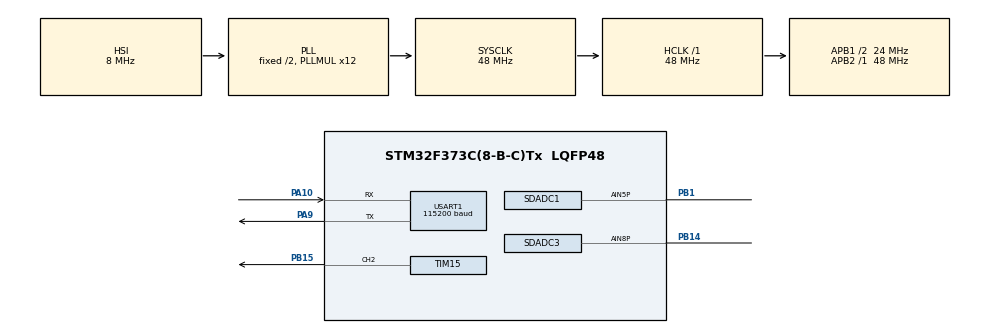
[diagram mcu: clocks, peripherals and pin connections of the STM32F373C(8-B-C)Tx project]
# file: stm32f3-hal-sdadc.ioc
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Dma.Request0=USART1_RX
Dma.USART1_RX.0.Direction=DMA_PERIPH_TO_MEMORY
Dma.USART1_RX.0.Instance=DMA1_Channel5
Dma.USART1_RX.0.MemDataAlignment=DMA_MDATAALIGN_BYTE
Dma.USART1_RX.0.MemInc=DMA_MINC_ENABLE
Dma.USART1_RX.0.Mode=DMA_CIRCULAR
Dma.USART1_RX.0.PeriphDataAlignment=DMA_PDATAALIGN_BYTE
Dma.USART1_RX.0.PeriphInc=DMA_PINC_DISABLE
Dma.USART1_RX.0.Priority=DMA_PRIORITY_LOW
Mcu.Family=STM32F3
Mcu.Name=STM32F373C(8-B-C)Tx
Mcu.Package=LQFP48
NVIC.DMA1_Channel5_IRQn=true\:0\:0\:false\:false\:true\:false\:true\:true
NVIC.PriorityGroup=NVIC_PRIORITYGROUP_4
NVIC.SDADC1_IRQn=true\:0\:0\:false\:false\:true\:true\:true\:true
NVIC.SDADC3_IRQn=true\:0\:0\:false\:false\:true\:true\:true\:true
NVIC.USART1_IRQn=true\:0\:0\:false\:false\:true\:true\:true\:true
PA10.Mode=Asynchronous
PA10.Signal=USART1_RX
PA9.Mode=Asynchronous
PA9.Signal=USART1_TX
PB1.Mode=IN5-Single-Ended zero reference
PB1.Signal=SDADC1_AIN5P
PB14.Mode=IN8-Single-Ended zero reference
PB14.Signal=SDADC3_AIN8P
PB15.Signal=S_TIM15_CH2
PF0-OSC_IN.Mode=HSE-External-Oscillator
PF0-OSC_IN.Signal=RCC_OSC_IN
PF1-OSC_OUT.Mode=HSE-External-Oscillator
PF1-OSC_OUT.Signal=RCC_OSC_OUT
ProjectManager.HeapSize=0x200
ProjectManager.StackSize=0x400
ProjectManager.TargetToolchain=CMake
RCC.AHBFreq_Value=48000000
RCC.APB1CLKDivider=RCC_HCLK_DIV2
RCC.APB1Freq_Value=24000000
RCC.APB1TimFreq_Value=48000000
RCC.APB2Freq_Value=48000000
RCC.APB2TimFreq_Value=48000000
RCC.CortexFreq_Value=48000000
RCC.HCLKFreq_Value=48000000
RCC.HSE_VALUE=8000000
RCC.HSI_VALUE=8000000
RCC.LSE_VALUE=32768
RCC.PLLMUL=RCC_PLL_MUL12
RCC.SDADCPresc=RCC_SDADCSYSCLK_DIV20
RCC.SYSCLKFreq_VALUE=48000000
RCC.SYSCLKSource=RCC_SYSCLKSOURCE_PLLCLK
RCC.USBFreq_Value=48000000
SDADC1.EnableInjectedConversion=ENABLE
SDADC1.InjNumberOfConversion=1
SDADC1.InjectedChannel-1\#ChannelInjectedConversion=SDADC_CHANNEL_5
SDADC1.InjectedChannelsSelection=SDADC_CHANNEL_5
SDADC1.InjectedConfIndex-1\#ChannelInjectedConversion=SDADC_CONF_INDEX_0
SDADC1.InjectedExtTrigger=SDADC_EXT_TRIG_TIM15_CC2
SDADC1.InjectedRank-1\#ChannelInjectedConversion=1
SDADC1.InjectedTrigger=SDADC_EXTERNAL_TRIGGER
SDADC1.InputMode0=SDADC_INPUT_MODE_SE_ZERO_REFERENCE
SDADC1.NbrOfConversionFlag=1
SDADC3.EnableInjectedConversion=ENABLE
SDADC3.InjNumberOfConversion=1
SDADC3.InjectedChannel-2\#ChannelInjectedConversion=SDADC_CHANNEL_8
SDADC3.InjectedChannelsSelection=SDADC_CHANNEL_8
SDADC3.InjectedConfIndex-2\#ChannelInjectedConversion=SDADC_CONF_INDEX_0
SDADC3.InjectedRank-2\#ChannelInjectedConversion=1
SDADC3.InjectedTrigger=SDADC_SYNCHRONOUS_TRIGGER
SDADC3.InputMode0=SDADC_INPUT_MODE_SE_ZERO_REFERENCE
SDADC3.NbrOfConversionFlag=1
SH.S_TIM15_CH2.0=TIM15_CH2,Output Compare2 CH2
TIM15.Channel-Output\ Compare2\ CH2=TIM_CHANNEL_2
TIM15.OCMode_2=TIM_OCMODE_TOGGLE
TIM15.Period=4000
TIM15.Prescaler=12
TIM15.Pulse-Output\ Compare2\ CH2=2000
USART1.BaudRate=115200
USART1.VirtualMode-Asynchronous=VM_ASYNC
VP_SDADC1_CONF0.Mode=ConfigZero
VP_SDADC3_CONF0.Mode=ConfigZero
VP_TIM15_VS_ClockSourceINT.Mode=Internal
board=custom

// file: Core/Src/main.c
/* USER CODE BEGIN Header */
/**
  ******************************************************************************
  * @file           : main.c
  * @brief          : Main program body
  ******************************************************************************
  * @attention
  *
  * Copyright (c) 2026 STMicroelectronics.
  * All rights reserved.
  *
  * This software is licensed under terms that can be found in the LICENSE file
  * in the root directory of this software component.
  * If no LICENSE file comes with this software, it is provided AS-IS.
  *
  ******************************************************************************
  */
/* USER CODE END Header */
#include "main.h"

/* USER CODE BEGIN Includes */
#include "cli.h"
#include "cli_cmd_fns.h"
#include "lwrb/lwrb.h"  /* lwrb_t */
#include "printf.h"     /* snprintf_ */
#include <stdint.h>
#include <string.h>     /* size_t, strSNPRINTF_BUFFER_SIZE */
/* USER CODE END Includes */

/* USER CODE BEGIN PTD */

// C99: Define an enumerated type with typedef
typedef enum {
    SDADC1_CH5,
    SDADC3_CH8
} sdadc_inj_channels_t;

typedef struct sensor_data_t sensor_data_t;

struct sensor_data_t {
    int16_t sdadc1_ch5;
    int16_t sdadc3_ch8;
};

/* USER CODE END PTD */

/* USER CODE BEGIN PD */
#define LWRB_SIZE               128
#define SDADC1_CH5_VALUE        5
#define SDADC3_CH8_VALUE        8
#define SNPRINTF_BUFFER_SIZE    64
#define UART_RX_BUFFER_SIZE     32  /* size of reception buffer */
/* USER CODE END PD */

SDADC_HandleTypeDef hsdadc1;  /* hsdadc1 is a handle to manage the SDADC1 */
SDADC_HandleTypeDef hsdadc3;  /* hsdadc3 is a handle to manage the SDADC3 */

TIM_HandleTypeDef htim15;     /* htim15 is a handle to manage the TIMER */

UART_HandleTypeDef huart1;
DMA_HandleTypeDef hdma_usart1_rx;

/* USER CODE BEGIN PV */

/**
  * @brief sensor_data_t implementation
  */
sensor_data_t sensor_data = {0};

/**
  * @brief cli.c
  */
cli_t cli;

/**
 * \brief
 */
char snprintf_buf[SNPRINTF_BUFFER_SIZE];

/**
 * \brief  Ring buffer instance for TX data
 */
lwrb_t sdadc1_ch5_rb;  // sdadc1_ch5
lwrb_t sdadc3_ch8_rb;  // sdadc3_ch8

/**
 * \brief  Ring buffer data array for TX DMA
 */
uint8_t sdadc1_ch5_rb_data[LWRB_SIZE];
uint8_t sdadc3_ch8_rb_data[LWRB_SIZE];

/**
* \brief  InjectedConvData contains the result of the conversion,
*         updated in HAL_SDADC_InjectedConvCpltCallback
*/
__IO int16_t InjectedConvData = 0;

/**
* \brief  InjChannel contains the converted channel after each
*         conversion. This is not used in this example.
*/
__IO uint32_t InjChannel = 0;

/**
  * @brief Text strings printed on PC Com port for user information
  */
char aTextInfoStart[] = "\r\nUSART Example : Enter characters to fill reception buffers.\r\n";

uint8_t aRXBufferUser[UART_RX_BUFFER_SIZE];

/**
  * @brief Data buffers used to manage received data in interrupt routine
  */
uint8_t aRXBufferA[UART_RX_BUFFER_SIZE];
uint8_t aRXBufferB[UART_RX_BUFFER_SIZE];

__IO uint32_t     uwNbReceivedChars;
uint8_t* pBufferReadyForUser;
uint8_t* pBufferReadyForReception;

/* USER CODE END PV */

void SystemClock_Config(void);
static void MX_GPIO_Init(void);
static void MX_DMA_Init(void);
static void MX_USART1_UART_Init(void);
static void MX_SDADC1_Init(void);
static void MX_SDADC3_Init(void);
static void MX_TIM15_Init(void);
/* USER CODE BEGIN PFP */
void my_buff_evt_fn(lwrb_t* buff, lwrb_evt_type_t type, size_t len);
void StartReception(void);
void UserDataTreatment(UART_HandleTypeDef* huart, uint8_t* pData, uint16_t Size);
void user_uart_println(char* msg);
/* USER CODE END PFP */

int main(void)
{

  /* USER CODE BEGIN 1 */

    /* lwrc.c */
    lwrb_init(&sdadc1_ch5_rb, sdadc1_ch5_rb_data, sizeof(sdadc1_ch5_rb_data));
    lwrb_set_evt_fn(&sdadc1_ch5_rb, my_buff_evt_fn);

  /* USER CODE END 1 */

  /* MCU Configuration--------------------------------------------------------*/

  /* Reset of all peripherals, Initializes the Flash interface and the Systick. */
  HAL_Init();

  /* Configure the system clock */
  SystemClock_Config();

  /* Initialize all configured peripherals */
  MX_GPIO_Init();
  MX_DMA_Init();
  MX_USART1_UART_Init();
  MX_SDADC1_Init();
  MX_SDADC3_Init();
  MX_TIM15_Init();
  /* USER CODE BEGIN 2 */

    /* Print user info on PC com port */
    user_uart_println(aTextInfoStart);

    /* cli.c */
    cli.println = user_uart_println;
    /* Set the cli_t (i.e. cli) cmd_tbl and cmd_cnt members */
    cli_set_cmd_members(&cli);
    cli_init(&cli);

    /* Initiate Continuous reception */
    StartReception();

    /* Start the TIMER's Channel */
    if (HAL_TIM_PWM_Start(&htim15, TIM_CHANNEL_2) != HAL_OK)
    {
        Error_Handler();
    }

    /* Start Calibration in polling mode */
    if (HAL_SDADC_CalibrationStart(&hsdadc1, SDADC_CALIBRATION_SEQ_1) != HAL_OK)
    {
        Error_Handler();
    }

    /* Pool for the end of calibration */
    if (HAL_SDADC_PollForCalibEvent(&hsdadc1, HAL_MAX_DELAY) != HAL_OK)
    {
        Error_Handler();
    }

    /* Start injected conversion in interrupt mode */
    if (HAL_SDADC_InjectedStart_IT(&hsdadc1) != HAL_OK)
    {
        Error_Handler();
    }

    /* Start Calibration in polling mode */
    if (HAL_SDADC_CalibrationStart(&hsdadc3, SDADC_CALIBRATION_SEQ_1) != HAL_OK)
    {
        Error_Handler();
    }

    /* Pool for the end of calibration */
    if (HAL_SDADC_PollForCalibEvent(&hsdadc3, HAL_MAX_DELAY) != HAL_OK)
    {
        Error_Handler();
    }

    /* Start injected conversion in interrupt mode */
    if (HAL_SDADC_InjectedStart_IT(&hsdadc3) != HAL_OK)
    {
        Error_Handler();
    }

  /* USER CODE END 2 */

  /* Infinite loop */
  /* USER CODE BEGIN WHILE */
  while (1)
  {
    cli_process(&cli);

    /* USER CODE END WHILE */

  }
}

void SystemClock_Config(void)
{
  RCC_OscInitTypeDef RCC_OscInitStruct = {0};
  RCC_ClkInitTypeDef RCC_ClkInitStruct = {0};
  RCC_PeriphCLKInitTypeDef PeriphClkInit = {0};

  /** Initializes the RCC Oscillators according to the specified parameters
  * in the RCC_OscInitTypeDef structure.
  */
  RCC_OscInitStruct.OscillatorType = RCC_OSCILLATORTYPE_HSI;
  RCC_OscInitStruct.HSIState = RCC_HSI_ON;
  RCC_OscInitStruct.HSICalibrationValue = RCC_HSICALIBRATION_DEFAULT;
  RCC_OscInitStruct.PLL.PLLState = RCC_PLL_ON;
  RCC_OscInitStruct.PLL.PLLSource = RCC_PLLSOURCE_HSI;
  RCC_OscInitStruct.PLL.PLLMUL = RCC_PLL_MUL12;
  if (HAL_RCC_OscConfig(&RCC_OscInitStruct) != HAL_OK)
  {
    Error_Handler();
  }

  /** Initializes the CPU, AHB and APB buses clocks
  */
  RCC_ClkInitStruct.ClockType = RCC_CLOCKTYPE_HCLK|RCC_CLOCKTYPE_SYSCLK
                              |RCC_CLOCKTYPE_PCLK1|RCC_CLOCKTYPE_PCLK2;
  RCC_ClkInitStruct.SYSCLKSource = RCC_SYSCLKSOURCE_PLLCLK;
  RCC_ClkInitStruct.AHBCLKDivider = RCC_SYSCLK_DIV1;
  RCC_ClkInitStruct.APB1CLKDivider = RCC_HCLK_DIV2;
  RCC_ClkInitStruct.APB2CLKDivider = RCC_HCLK_DIV1;

  if (HAL_RCC_ClockConfig(&RCC_ClkInitStruct, FLASH_LATENCY_1) != HAL_OK)
  {
    Error_Handler();
  }
  PeriphClkInit.PeriphClockSelection = RCC_PERIPHCLK_USART1|RCC_PERIPHCLK_SDADC;
  PeriphClkInit.Usart1ClockSelection = RCC_USART1CLKSOURCE_PCLK2;
  PeriphClkInit.SdadcClockSelection = RCC_SDADCSYSCLK_DIV20;
  if (HAL_RCCEx_PeriphCLKConfig(&PeriphClkInit) != HAL_OK)
  {
    Error_Handler();
  }
  HAL_PWREx_EnableSDADC(PWR_SDADC_ANALOG1);
  HAL_PWREx_EnableSDADC(PWR_SDADC_ANALOG3);
}

static void MX_SDADC1_Init(void)
{

  SDADC_ConfParamTypeDef ConfParamStruct = {0};

  /** Configure the SDADC low power mode, fast conversion mode,
  slow clock mode and SDADC1 reference voltage
  */
  hsdadc1.Instance = SDADC1;
  hsdadc1.Init.IdleLowPowerMode = SDADC_LOWPOWER_NONE;
  hsdadc1.Init.FastConversionMode = SDADC_FAST_CONV_DISABLE;
  hsdadc1.Init.SlowClockMode = SDADC_SLOW_CLOCK_DISABLE;
  hsdadc1.Init.ReferenceVoltage = SDADC_VREF_EXT;
  hsdadc1.InjectedTrigger = SDADC_EXTERNAL_TRIGGER;
  hsdadc1.ExtTriggerEdge = SDADC_EXT_TRIG_RISING_EDGE;
  if (HAL_SDADC_Init(&hsdadc1) != HAL_OK)
  {
    Error_Handler();
  }

  /** Configure the Injected Mode
  */
  if (HAL_SDADC_SelectInjectedDelay(&hsdadc1, SDADC_INJECTED_DELAY_NONE) != HAL_OK)
  {
    Error_Handler();
  }
  if (HAL_SDADC_SelectInjectedExtTrigger(&hsdadc1, SDADC_EXT_TRIG_TIM15_CC2, SDADC_EXT_TRIG_RISING_EDGE) != HAL_OK)
  {
    Error_Handler();
  }
  if (HAL_SDADC_SelectInjectedTrigger(&hsdadc1, SDADC_EXTERNAL_TRIGGER) != HAL_OK)
  {
    Error_Handler();
  }
  if (HAL_SDADC_InjectedConfigChannel(&hsdadc1, SDADC_CHANNEL_5, SDADC_CONTINUOUS_CONV_OFF) != HAL_OK)
  {
    Error_Handler();
  }

  /** Set parameters for SDADC configuration 0 Register
  */
  ConfParamStruct.InputMode = SDADC_INPUT_MODE_SE_ZERO_REFERENCE;
  ConfParamStruct.Gain = SDADC_GAIN_1;
  ConfParamStruct.CommonMode = SDADC_COMMON_MODE_VSSA;
  ConfParamStruct.Offset = 0;
  if (HAL_SDADC_PrepareChannelConfig(&hsdadc1, SDADC_CONF_INDEX_0, &ConfParamStruct) != HAL_OK)
  {
    Error_Handler();
  }

  /** Configure the Injected Channel
  */
  if (HAL_SDADC_AssociateChannelConfig(&hsdadc1, SDADC_CHANNEL_5, SDADC_CONF_INDEX_0) != HAL_OK)
  {
    Error_Handler();
  }

}

static void MX_SDADC3_Init(void)
{

  SDADC_ConfParamTypeDef ConfParamStruct = {0};

  /** Configure the SDADC low power mode, fast conversion mode,
  slow clock mode and SDADC1 reference voltage
  */
  hsdadc3.Instance = SDADC3;
  hsdadc3.Init.IdleLowPowerMode = SDADC_LOWPOWER_NONE;
  hsdadc3.Init.FastConversionMode = SDADC_FAST_CONV_DISABLE;
  hsdadc3.Init.SlowClockMode = SDADC_SLOW_CLOCK_DISABLE;
  hsdadc3.Init.ReferenceVoltage = SDADC_VREF_EXT;
  hsdadc3.InjectedTrigger = SDADC_SYNCHRONOUS_TRIGGER;
  if (HAL_SDADC_Init(&hsdadc3) != HAL_OK)
  {
    Error_Handler();
  }

  /** Configure the Injected Mode
  */
  if (HAL_SDADC_SelectInjectedDelay(&hsdadc3, SDADC_INJECTED_DELAY_NONE) != HAL_OK)
  {
    Error_Handler();
  }
  if (HAL_SDADC_SelectInjectedTrigger(&hsdadc3, SDADC_SYNCHRONOUS_TRIGGER) != HAL_OK)
  {
    Error_Handler();
  }
  if (HAL_SDADC_InjectedConfigChannel(&hsdadc3, SDADC_CHANNEL_8, SDADC_CONTINUOUS_CONV_OFF) != HAL_OK)
  {
    Error_Handler();
  }

  /** Set parameters for SDADC configuration 0 Register
  */
  ConfParamStruct.InputMode = SDADC_INPUT_MODE_SE_ZERO_REFERENCE;
  ConfParamStruct.Gain = SDADC_GAIN_1;
  ConfParamStruct.CommonMode = SDADC_COMMON_MODE_VSSA;
  ConfParamStruct.Offset = 0;
  if (HAL_SDADC_PrepareChannelConfig(&hsdadc3, SDADC_CONF_INDEX_0, &ConfParamStruct) != HAL_OK)
  {
    Error_Handler();
  }

  /** Configure the Injected Channel
  */
  if (HAL_SDADC_AssociateChannelConfig(&hsdadc3, SDADC_CHANNEL_8, SDADC_CONF_INDEX_0) != HAL_OK)
  {
    Error_Handler();
  }

}

static void MX_TIM15_Init(void)
{

  TIM_ClockConfigTypeDef sClockSourceConfig = {0};
  TIM_MasterConfigTypeDef sMasterConfig = {0};
  TIM_OC_InitTypeDef sConfigOC = {0};
  TIM_BreakDeadTimeConfigTypeDef sBreakDeadTimeConfig = {0};

  htim15.Instance = TIM15;
  htim15.Init.Prescaler = 12000;  // 12;
  htim15.Init.CounterMode = TIM_COUNTERMODE_UP;
  htim15.Init.Period = 4000;
  htim15.Init.ClockDivision = TIM_CLOCKDIVISION_DIV1;
  htim15.Init.RepetitionCounter = 0;
  htim15.Init.AutoReloadPreload = TIM_AUTORELOAD_PRELOAD_DISABLE;
  if (HAL_TIM_Base_Init(&htim15) != HAL_OK)
  {
    Error_Handler();
  }
  sClockSourceConfig.ClockSource = TIM_CLOCKSOURCE_INTERNAL;
  if (HAL_TIM_ConfigClockSource(&htim15, &sClockSourceConfig) != HAL_OK)
  {
    Error_Handler();
  }
  if (HAL_TIM_OC_Init(&htim15) != HAL_OK)
  {
    Error_Handler();
  }
  sMasterConfig.MasterOutputTrigger = TIM_TRGO_RESET;
  sMasterConfig.MasterSlaveMode = TIM_MASTERSLAVEMODE_DISABLE;
  if (HAL_TIMEx_MasterConfigSynchronization(&htim15, &sMasterConfig) != HAL_OK)
  {
    Error_Handler();
  }
  sConfigOC.OCMode = TIM_OCMODE_TOGGLE;
  sConfigOC.Pulse = 2000;
  sConfigOC.OCPolarity = TIM_OCPOLARITY_HIGH;
  sConfigOC.OCNPolarity = TIM_OCNPOLARITY_HIGH;
  sConfigOC.OCFastMode = TIM_OCFAST_DISABLE;
  sConfigOC.OCIdleState = TIM_OCIDLESTATE_RESET;
  sConfigOC.OCNIdleState = TIM_OCNIDLESTATE_RESET;
  if (HAL_TIM_OC_ConfigChannel(&htim15, &sConfigOC, TIM_CHANNEL_2) != HAL_OK)
  {
    Error_Handler();
  }
  sBreakDeadTimeConfig.OffStateRunMode = TIM_OSSR_DISABLE;
  sBreakDeadTimeConfig.OffStateIDLEMode = TIM_OSSI_DISABLE;
  sBreakDeadTimeConfig.LockLevel = TIM_LOCKLEVEL_OFF;
  sBreakDeadTimeConfig.DeadTime = 0;
  sBreakDeadTimeConfig.BreakState = TIM_BREAK_DISABLE;
  sBreakDeadTimeConfig.BreakPolarity = TIM_BREAKPOLARITY_HIGH;
  sBreakDeadTimeConfig.AutomaticOutput = TIM_AUTOMATICOUTPUT_DISABLE;
  if (HAL_TIMEx_ConfigBreakDeadTime(&htim15, &sBreakDeadTimeConfig) != HAL_OK)
  {
    Error_Handler();
  }
  HAL_TIM_MspPostInit(&htim15);

}

static void MX_USART1_UART_Init(void)
{

  huart1.Instance = USART1;
  huart1.Init.BaudRate = 115200;
  huart1.Init.WordLength = UART_WORDLENGTH_8B;
  huart1.Init.StopBits = UART_STOPBITS_1;
  huart1.Init.Parity = UART_PARITY_NONE;
  huart1.Init.Mode = UART_MODE_TX_RX;
  huart1.Init.HwFlowCtl = UART_HWCONTROL_NONE;
  huart1.Init.OverSampling = UART_OVERSAMPLING_16;
  huart1.Init.OneBitSampling = UART_ONE_BIT_SAMPLE_DISABLE;
  huart1.AdvancedInit.AdvFeatureInit = UART_ADVFEATURE_NO_INIT;
  if (HAL_UART_Init(&huart1) != HAL_OK)
  {
    Error_Handler();
  }

}

static void MX_DMA_Init(void)
{

  /* DMA controller clock enable */
  __HAL_RCC_DMA1_CLK_ENABLE();

  /* DMA interrupt init */
  /* DMA1_Channel5_IRQn interrupt configuration */
  HAL_NVIC_SetPriority(DMA1_Channel5_IRQn, 0, 0);
  HAL_NVIC_EnableIRQ(DMA1_Channel5_IRQn);

}

static void MX_GPIO_Init(void)
{

  /* GPIO Ports Clock Enable */
  __HAL_RCC_GPIOF_CLK_ENABLE();
  __HAL_RCC_GPIOB_CLK_ENABLE();
  __HAL_RCC_GPIOA_CLK_ENABLE();

}

/* USER CODE BEGIN 4 */

/**
 * \brief  Buffer event function
 */
void my_buff_evt_fn(lwrb_t* buff, lwrb_evt_type_t type, size_t len)
{
    switch (type) {
        case LWRB_EVT_RESET:
            // printf("[EVT] Buffer reset event!\r\n");
            user_uart_println("[EVT] Buffer reset event!\r\n");
            break;
        case LWRB_EVT_READ:
            // printf("[EVT] Buffer read event: %d byte(s)!\r\n", (int)len);
            snprintf_(
                snprintf_buf, SNPRINTF_BUFFER_SIZE,
                "[EVT] Buffer read event: %d byte(s)!\r\n", (int)len
            );
            user_uart_println(snprintf_buf);
            break;
        case LWRB_EVT_WRITE:
            // printf("[EVT] Buffer write event: %d byte(s)!\r\n", (int)len);
            snprintf_(
                snprintf_buf, SNPRINTF_BUFFER_SIZE,
                "[EVT] Buffer write event: %d byte(s)!\r\n", (int)len
            );
            user_uart_println(snprintf_buf);
            break;
        default: break;
    }
}

/**
  * @brief  This function prints user info on PC com port and initiates RX transfer
  * @retval None
  */
void StartReception(void)
{
    /* Initializes Buffer swap mechanism (used in User callback) :
        - 2 physical buffers aRXBufferA and aRXBufferB (UART_RX_BUFFER_SIZE length)
    */
    pBufferReadyForReception = aRXBufferA;
    pBufferReadyForUser      = aRXBufferB;
    uwNbReceivedChars        = 0;

    /* Print user info on PC com port */
    user_uart_println(aTextInfoStart);

    /* Initializes Rx sequence using Reception To Idle event API.
        As DMA channel associated to UART Rx is configured as Circular,
        reception is endless.
        If reception has to be stopped, call to HAL_UART_AbortReceive() could be used.

        Use of HAL_UARTEx_ReceiveToIdle_DMA service, will generate calls to
        user defined HAL_UARTEx_RxEventCallback callback for each occurrence of
        following events :
        - DMA RX Half Transfer event (HT)
        - DMA RX Transfer Complete event (TC)
        - IDLE event on UART Rx line (indicating a pause is UART reception flow)
    */
    if (HAL_OK != HAL_UARTEx_ReceiveToIdle_DMA(&huart1, aRXBufferUser, UART_RX_BUFFER_SIZE))
    {
        Error_Handler();
    }
}

/**
  * @brief  This function handles buffer containing received data on PC com port
  * @note   In this example, received data are sent back on UART Tx (loopback)
  *         Any other processing such as copying received data in a larger buffer to make it
  *         available for application, could be implemented here.
  * @note   This routine is executed in Interrupt context.
  * @param  huart UART handle.
  * @param  pData Pointer on received data buffer to be processed
  * @retval Size  Nb of received characters available in buffer
  */
void UserDataTreatment(UART_HandleTypeDef *huart, uint8_t* pData, uint16_t Size)
{
    /*
    * This function might be called in any of the following interrupt contexts :
    *  - DMA Transfer Complete (TC) and Half Transfer (HT) events
    *  - UART IDLE line event
    *
    * pData and Size defines the buffer where received data have been copied, in order to be processed.
    * During this processing of already received data, reception is still ongoing.
    *
    */
    uint8_t* pBuff = pData;
    uint8_t  i;
    char     ch;  /* cli.c */

    /* Implementation of loopback is on purpose implemented in direct register access,
        in order to be able to echo received characters as fast as they are received.
        Wait for TC flag to be raised at end of transmit is then removed, only TXE is checked */
    for (i = 0; i < Size; i++)
    {
        while (!(__HAL_UART_GET_FLAG(huart, UART_FLAG_TXE))) {}
        huart->Instance->TDR = *pBuff;
        ch = (char)*pBuff;  /* cli.c */
        cli_put(&cli, ch);  /* cli.c */
        pBuff++;
    }

}

/**
  * @brief  User implementation of the Reception Event Callback
  *         (Rx event notification called after use of advanced reception service).
  * @param  huart UART handle
  * @param  Size  Number of data available in application reception buffer (indicates a position in
  *               reception buffer until which, data are available)
  * @retval None
  */
void HAL_UARTEx_RxEventCallback(UART_HandleTypeDef *huart, uint16_t Size)
{
    static uint8_t old_pos = 0;
    uint8_t *ptemp;
    uint8_t i;

    /* Check if number of received data in reception buffer has changed */
    if (Size != old_pos)
    {
        /* Check if position of index in reception buffer has simply be increased
            of if end of buffer has been reached */
        if (Size > old_pos)
        {
            /* Current position is higher than previous one */
            uwNbReceivedChars = Size - old_pos;
            /* Copy received data in "User" buffer for evacuation */
            for (i = 0; i < uwNbReceivedChars; i++)
            {
                pBufferReadyForUser[i] = aRXBufferUser[old_pos + i];
            }
        }
        else
        {
            /* Current position is lower than previous one : end of buffer has been reached */
            /* First copy data from current position until end of buffer */
            uwNbReceivedChars = UART_RX_BUFFER_SIZE - old_pos;
            /* Copy received data in "User" buffer for evacuation */
            for (i = 0; i < uwNbReceivedChars; i++)
            {
                pBufferReadyForUser[i] = aRXBufferUser[old_pos + i];
            }
            /* Check and continue with beginning of buffer */
            if (Size > 0)
            {
                for (i = 0; i < Size; i++)
                {
                    pBufferReadyForUser[uwNbReceivedChars + i] = aRXBufferUser[i];
                }
                uwNbReceivedChars += Size;
            }
        }
        /* Process received data that has been extracted from Rx User buffer */
        UserDataTreatment(huart, pBufferReadyForUser, uwNbReceivedChars);

        /* Swap buffers for next bytes to be processed */
        ptemp = pBufferReadyForUser;
        pBufferReadyForUser = pBufferReadyForReception;
        pBufferReadyForReception = ptemp;
    }
    /* Update old_pos as new reference of position in User Rx buffer that
        indicates position to which data have been processed */
    old_pos = Size;

}

/**
  * @brief  Send text information message on UART Tx line (to PC Com port).
  * @note
  * @param[in] msg  String to be sent to user display
  * @retval None
  */
void user_uart_println(char* msg)
{
    size_t len = strlen(msg);  /* bytes before '\0' */
    if (HAL_OK != HAL_UART_Transmit(&huart1, (uint8_t*)msg, (uint16_t)len, 100))
    {
        Error_Handler();
    }
}

/* --------------------- Callback ------------------------- */

/**
  * @brief  Injected conversion complete callback.
  * @note
  *
  * https://github.com/KiteBuilder/UvhPu/blob/5b00b3bfccb5a2864dbbb0c1755949325a77b525/user/app.cpp#L221
  * https://github.com/openpowerquality/opq/blob/d3d9f051b5096809b1e06d8f483fd4ff9dc861f2/box/Firmware/Src/opq.c
  * https://github.com/sk-co/rd-rs485/blob/266703887e98e99067b0443ddf21a2f88a80566c/src/boards/rd10/board-adc.cpp#L488
  *
  * @param[in]  hsdadc : SDADC handle.
  * @retval None
  */
void HAL_SDADC_InjectedConvCpltCallback(SDADC_HandleTypeDef* hsdadc)
{
    /* Get conversion value */
    InjectedConvData = HAL_SDADC_InjectedGetValue(hsdadc, (uint32_t *) &InjChannel);

    if (hsdadc == &hsdadc1)
    {
        if (InjChannel == SDADC1_CH5_VALUE) {
            sensor_data.sdadc1_ch5 = InjectedConvData;
            snprintf_(
                snprintf_buf, SNPRINTF_BUFFER_SIZE,
                "hsdadc1; ch: %ld; data: %d\r\n", InjChannel, sensor_data.sdadc1_ch5
            );
        } else {
            snprintf_(
                snprintf_buf, SNPRINTF_BUFFER_SIZE,
                "hsdadc1; ch: %ld; data: %d\r\n", InjChannel, InjectedConvData
            );
        }
        // lwrb_write(&sdadc1_ch5_rb, "1", 1);
    }
    else if (hsdadc == &hsdadc3)
    {
        if (InjChannel == SDADC3_CH8_VALUE) {
            sensor_data.sdadc3_ch8 = InjectedConvData;
            snprintf_(
                snprintf_buf, SNPRINTF_BUFFER_SIZE,
                "hsdadc3; ch: %ld; data: %d\r\n", InjChannel, sensor_data.sdadc3_ch8
            );
        }
        else {
            snprintf_(
                snprintf_buf, SNPRINTF_BUFFER_SIZE,
                "hsdadc3; ch: %ld; data: %d\r\n", InjChannel, InjectedConvData
            );
        }
        // lwrb_write(&sdadc3_ch8_rb, "3", 1);
    }

    user_uart_println(snprintf_buf);
}

/* USER CODE END 4 */

void Error_Handler(void)
{
  __disable_irq();
  while (1)
  {
  }
}
